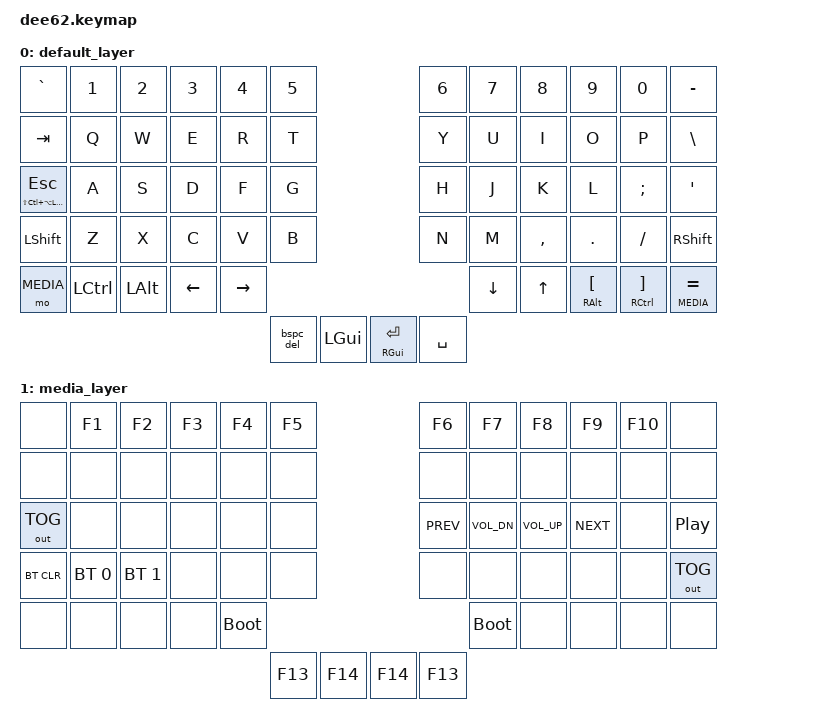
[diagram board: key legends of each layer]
#include <behaviors.dtsi>
#include <dt-bindings/zmk/keys.h>
#include <dt-bindings/zmk/bt.h>
#include <dt-bindings/zmk/outputs.h>

#define DEFAULT 0
#define MEDIA   1

/ {
    keymap {
        compatible = "zmk,keymap";

        default_layer {
            bindings = <
              &kp GRAVE                &kp N1    &kp N2   &kp N3   &kp N4    &kp N5                                               &kp N6  &kp N7   &kp N8    &kp N9        &kp N0          &kp MINUS
              &kp TAB                  &kp Q     &kp W    &kp E    &kp R     &kp T                                                &kp Y   &kp U    &kp I     &kp O         &kp P           &kp BSLH
              &mt LS(LC(LA(LGUI))) ESC &kp A     &kp S    &kp D    &kp F     &kp G                                                &kp H   &kp J    &kp K     &kp L         &kp SEMI        &kp APOS
              &kp LSHIFT               &kp Z     &kp X    &kp C    &kp V     &kp B                                                &kp N   &kp M    &kp COMMA &kp DOT       &kp FSLH        &kp RSHIFT
              &mo MEDIA                &kp LCTRL &kp LALT &kp LEFT &kp RIGHT                                                              &kp DOWN &kp UP    &mt RALT LBKT &mt RCTRL RBKT  &lt MEDIA EQUAL
                                                                                     &bspc_del &kp LGUI  &mt RGUI ENTER &kp SPACE
            >;
        };

        media_layer {
            bindings = <
              &none        &kp F1       &kp F2        &kp F3 &kp F4      &kp F5                                      &kp F6      &kp F7       &kp F8       &kp F9     &kp F10 &none       
              &none        &none        &none         &none  &none       &none                                       &none       &none        &none        &none      &none   &none
              &out OUT_TOG &none        &none         &none  &none       &none                                       &kp C_PREV  &kp C_VOL_DN &kp C_VOL_UP &kp C_NEXT &none   &kp C_PP
              &bt BT_CLR   &bt BT_SEL 0 &bt BT_SEL 1  &none  &none       &none                                       &none       &none        &none        &none      &none   &out OUT_TOG
              &none        &none        &none         &none  &bootloader                                                         &bootloader  &none        &none      &none   &none 
                                                                                &kp F13 &kp F14      &kp F14 &kp F13
            >;
        };
    };

    behaviors {
        bspc_del: backspace_delete {
            compatible = "zmk,behavior-mod-morph";
            label = "BACKSPACE_DELETE";
            #binding-cells = <0>;
            bindings = <&kp BACKSPACE>, <&kp DELETE>;
            mods = <(MOD_LSFT|MOD_RSFT)>;
            keep-mods = <(MOD_RSFT)>;
        };
    };

};

